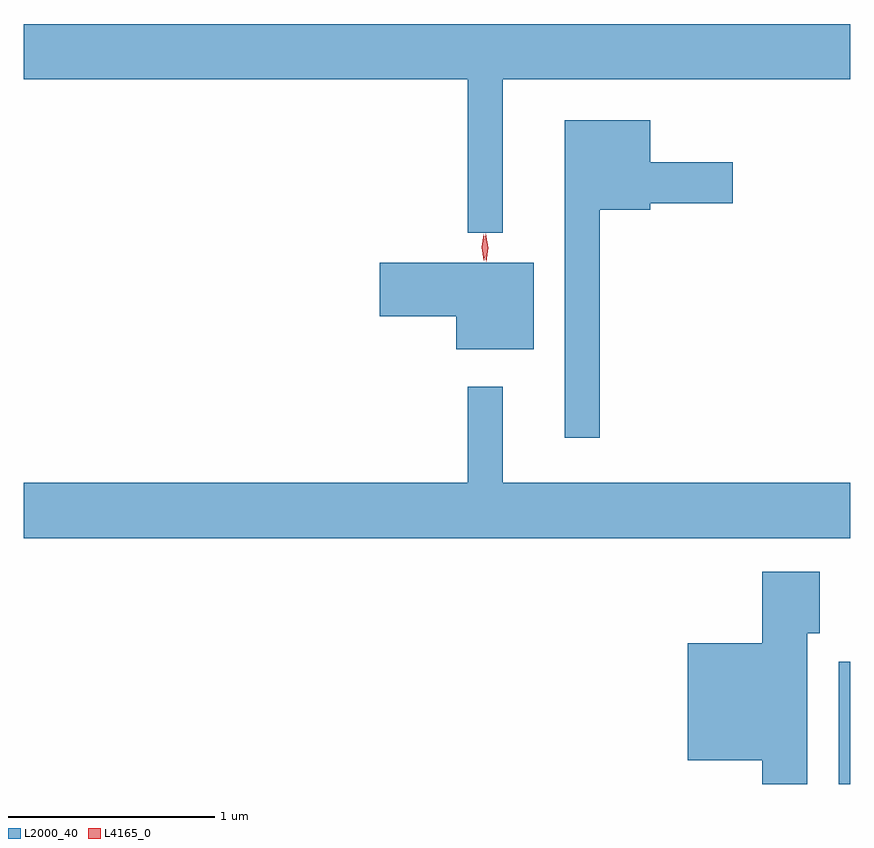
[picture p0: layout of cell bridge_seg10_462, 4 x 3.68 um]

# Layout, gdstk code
import gdstk
lib = gdstk.Library(unit=1e-6, precision=1e-09)
def R(c, l, rs):  # rectangles x0, y0, x1, y1
    for r in rs: c.add(gdstk.rectangle(r[:2], r[2:], *l))
def P(c, l, *ps):  # polygons
    for p in ps: c.add(gdstk.Polygon(p, *l))
L2000_40 = (2000, 40)
L4165_0 = (4165, 0)

bridge_seg10_462 = lib.new_cell('bridge_seg10_462')
R(bridge_seg10_462, L2000_40, [(970.466,2185.987,970.522,2186.579)])
P(bridge_seg10_462, L2000_40, [(968.839,2189.396),(970.522,2189.396),(970.522,2189.664),(966.522,2189.664),(966.522,2189.396),(968.671,2189.396),(968.671,2188.653),(968.839,2188.653)],
  [(969.309,2188.766),(969.554,2188.766),(969.554,2188.796),(969.954,2188.796),(969.954,2188.994),(969.554,2188.994),(969.554,2189.199),(969.141,2189.199),(969.141,2187.663),(969.309,2187.663)],
  [(968.989,2188.509),(968.246,2188.509),(968.246,2188.251),(968.616,2188.251),(968.616,2188.091),(968.989,2188.091)],
  [(970.522,2187.444),(968.839,2187.444),(968.839,2187.908),(968.671,2187.908),(968.671,2187.444),(966.522,2187.444),(966.522,2187.176),(970.522,2187.176)],
  [(970.314,2186.716),(970.374,2186.716),(970.374,2187.014),(970.096,2187.014),(970.096,2186.669),(969.736,2186.669),(969.736,2186.101),(970.096,2186.101),(970.096,2185.987),(970.314,2185.987)])
P(bridge_seg10_462, L4165_0, [(968.76,2188.514),(968.76,2188.514),(968.75,2188.582),(968.758,2188.65),(968.759,2188.65),(968.759,2188.65),(968.769,2188.582),(968.761,2188.514)],
  [(968.749,2188.52),(968.739,2188.584),(968.748,2188.646),(968.748,2188.647),(968.749,2188.646),(968.759,2188.584),(968.75,2188.52),(968.75,2188.52)])

lib.write_gds('bridge_seg10_462.gds')
